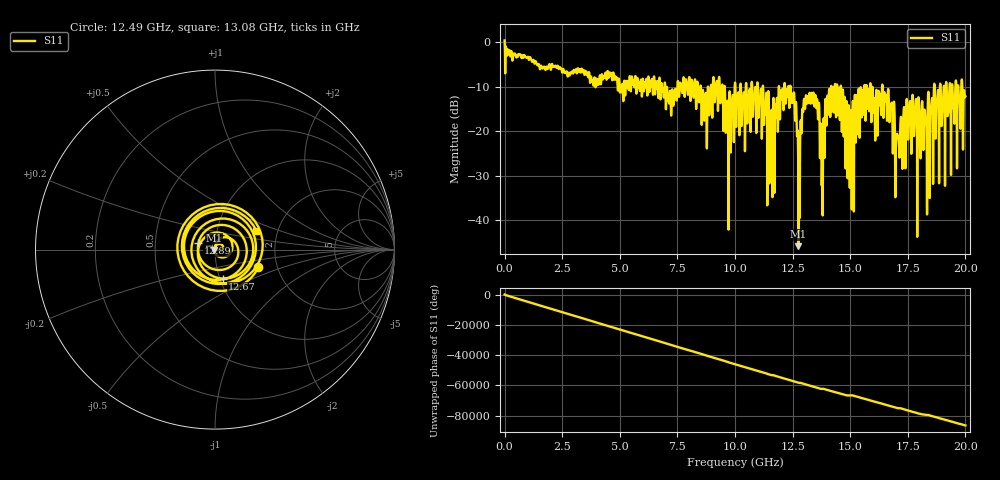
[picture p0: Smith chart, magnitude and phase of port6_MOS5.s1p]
! MS46122B
! 2250307/22442219
! 7/22/2025 3:20:15 PM
! C:\USERS\SPARKY\DOCUMENTS\VNA_DATA\JULY22_2025\295\PORT6_MOS5.S1P
! CHANNEL.1
! TR.MEASUREMENT
! RAW.DATA
# GHZ S RI R 50.0
! FREQ.GHZ  S11RE  S11IM
!; PortSelection: Port_1
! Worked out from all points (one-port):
!   10001 points, 1 MHz to 20 GHz, reference 50 ohm
!   lowest |S11| = -45.8 dB at 12.76 GHz (marker M1), VSWR 1.01, Z = 49.5 - j0.146 ohm
!   |S11| at or under -10 dB: 12.41 GHz to 14.17 GHz (1.759 GHz wide, 13.2 % of centre); 14.6 GHz to 15.61 GHz (1.011 GHz wide, 6.69 % of centre); 16.41 GHz to 18.64 GHz (2.232 GHz wide, 12.7 % of centre) (the widest 3 of 69)
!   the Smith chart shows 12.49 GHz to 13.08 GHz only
!   S11 on the Smith chart (normalised r, x): 12.49 GHz: 1.59, -0.34; 12.67 GHz: 1.03, -0.34; 12.89 GHz: 0.83, +0.06; 13.08 GHz: 1.55, +0.35
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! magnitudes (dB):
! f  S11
! 1 MHz  0.4
! 2.501 GHz  -6.8
! 5.001 GHz  -11.1
! 7.501 GHz  -9.7
! 9.249 GHz  -13.3
! 9.665 GHz  -13.6
! 10 GHz  -9.1
! 11.04 GHz  -13.1
! 11.56 GHz  -20.1
! 11.98 GHz  -11.5
! 12.49 GHz  -11.7
! 12.5 GHz  -12.3
! 12.67 GHz  -15.6
! 12.76 GHz  -45.8
! 12.89 GHz  -20.1
! 13.08 GHz  -11.9
! 13.56 GHz  -12.8
! 13.78 GHz  -28.1
! 14 GHz  -12.3
! 14.26 GHz  -10.0
! 15 GHz  -19.7
! 15.79 GHz  -10.6
! 16.72 GHz  -15.2
! 17.05 GHz  -20.7
! 17.5 GHz  -19.6
! 18.26 GHz  -17.0
! 18.72 GHz  -16.4
! 20 GHz  -12.2
